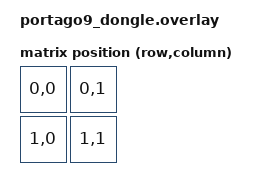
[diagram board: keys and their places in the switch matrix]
#include <dt-bindings/zmk/matrix_transform.h>

/ {
    // 論理マトリクス変換設定
    default_transform: keymap_transform0 {
        compatible = "zmk,matrix-transform";
        columns = <2>; // 列数
        rows = <2>;    // 行数
        map = <
            RC(0,0) RC(0,1)
            RC(1,0) RC(1,1)
        >;
    };
};

/ {
    physical_layout0: physical_layout_0 {
        compatible = "zmk,physical-layout";
        display-name = "Default Layout";
        transform = <&default_transform>;
    };
};

/ {
    chosen {
        zmk,kscan = &mock_kscan;
        zmk,physical-layout = &physical_layout0;
    };

    mock_kscan: mock_kscan_0 {
        compatible = "zmk,kscan-mock";
        columns = <0>;
        rows = <0>;
        events = <0>;
    };
};
